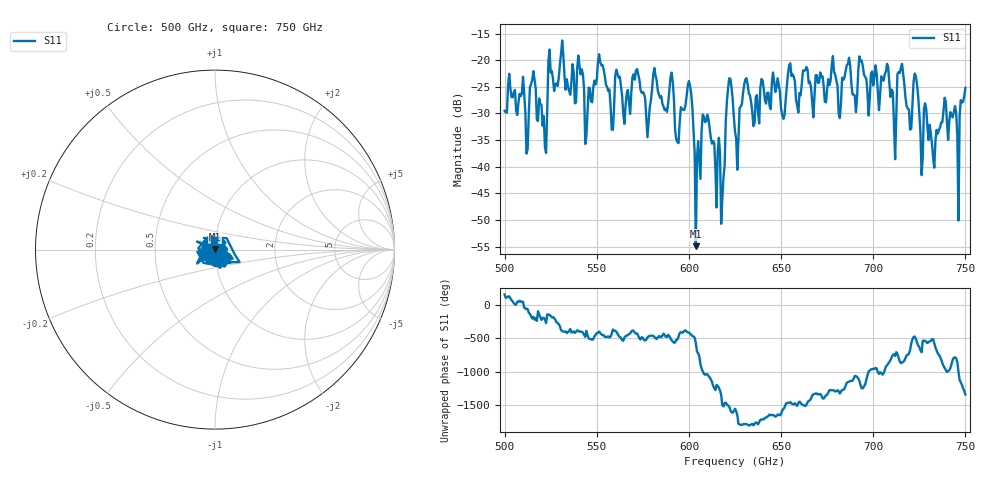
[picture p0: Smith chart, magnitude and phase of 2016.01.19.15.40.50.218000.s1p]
!Created with skrf (http://scikit-rf.org).
# GHz S RI R 50.0
!freq ReS11 ImS11
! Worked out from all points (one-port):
!   401 points, 500 GHz to 750 GHz, reference 50 ohm
!   lowest |S11| = -54.9 dB at 603.8 GHz (marker M1), VSWR 1.00, Z = 49.8 + j0.091 ohm
!   |S11| at or under -10 dB: start of sweep to end of sweep
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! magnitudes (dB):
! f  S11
! 500 GHz  -29.5
! 511.9 GHz  -37.5
! 515.6 GHz  -22.0
! 521.9 GHz  -36.3
! 525 GHz  -22.3
! 531.2 GHz  -16.3
! 544.4 GHz  -34.2
! 551.9 GHz  -20.4
! 558.1 GHz  -33.0
! 562.5 GHz  -23.1
! 590.6 GHz  -22.3
! 593.8 GHz  -35.4
! 600 GHz  -23.9
! 603.8 GHz  -54.9
! 608.8 GHz  -31.6
! 618.1 GHz  -45.9
! 621.9 GHz  -23.4
! 625 GHz  -33.4
! 630.6 GHz  -23.6
! 656.2 GHz  -22.7
! 687.5 GHz  -21.0
! 707.5 GHz  -20.7
! 711.2 GHz  -31.8
! 715 GHz  -21.4
! 718.8 GHz  -29.1
! 723.1 GHz  -23.0
! 732.5 GHz  -38.4
! 750 GHz  -25.2
